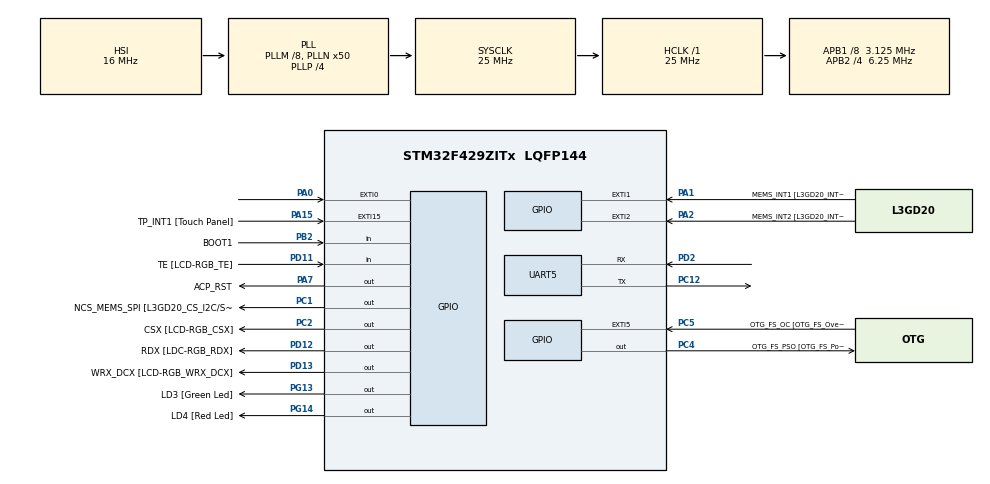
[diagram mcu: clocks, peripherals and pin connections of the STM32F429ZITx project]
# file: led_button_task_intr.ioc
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Mcu.Family=STM32F4
Mcu.Name=STM32F429ZITx
Mcu.Package=LQFP144
NVIC.EXTI0_IRQn=true\:6\:0\:true\:false\:true\:true\:true\:true
NVIC.PriorityGroup=NVIC_PRIORITYGROUP_4
NVIC.TIM6_DAC_IRQn=true\:15\:0\:false\:false\:true\:false\:true\:true
NVIC.TimeBase=TIM6_DAC_IRQn
NVIC.TimeBaseIP=TIM6
NVIC.UART5_IRQn=true\:0\:0\:false\:false\:true\:true\:true\:true
PA0/WKUP.GPIO_ModeDefaultEXTI=GPIO_MODE_IT_FALLING
PA0/WKUP.Signal=GPXTI0
PA1.GPIO_Label=MEMS_INT1 [L3GD20_INT1]
PA1.GPIO_ModeDefaultEXTI=GPIO_MODE_EVT_RISING
PA1.GPIO_PuPd=GPIO_NOPULL
PA1.Signal=GPXTI1
PA10.GPIO_Label=STLINK_TX [STM32F103CBT6_PA2]
PA10.Signal=USART1_RX
PA11.GPIO_Label=R4
PA11.GPIO_Mode=GPIO_MODE_AF_PP
PA11.GPIO_PuPd=GPIO_NOPULL
PA11.GPIO_Speed=GPIO_SPEED_FREQ_LOW
PA11.Signal=LTDC_R4
PA12.GPIO_Label=R5
PA12.GPIO_Mode=GPIO_MODE_AF_PP
PA12.GPIO_PuPd=GPIO_NOPULL
PA12.GPIO_Speed=GPIO_SPEED_FREQ_LOW
PA12.Signal=LTDC_R5
PA13.GPIO_Label=SWDIO
PA13.Signal=SYS_JTMS-SWDIO
PA14.GPIO_Label=SWCLK
PA14.Signal=SYS_JTCK-SWCLK
PA15.GPIO_Label=TP_INT1 [Touch Panel]
PA15.GPIO_ModeDefaultEXTI=GPIO_MODE_EVT_RISING
PA15.GPIO_PuPd=GPIO_NOPULL
PA15.Signal=GPXTI15
PA2.GPIO_Label=MEMS_INT2 [L3GD20_INT2]
PA2.GPIO_ModeDefaultEXTI=GPIO_MODE_EVT_RISING
PA2.GPIO_PuPd=GPIO_NOPULL
PA2.Signal=GPXTI2
PA3.GPIO_Label=B5
PA3.GPIO_Mode=GPIO_MODE_AF_PP
PA3.GPIO_PuPd=GPIO_NOPULL
PA3.GPIO_Speed=GPIO_SPEED_FREQ_LOW
PA3.Signal=LTDC_B5
PA4.GPIO_Label=VSYNC
PA4.GPIO_Mode=GPIO_MODE_AF_PP
PA4.GPIO_PuPd=GPIO_NOPULL
PA4.GPIO_Speed=GPIO_SPEED_FREQ_LOW
PA4.Signal=LTDC_VSYNC
PA6.GPIO_Label=G2
PA6.GPIO_Mode=GPIO_MODE_AF_PP
PA6.GPIO_PuPd=GPIO_NOPULL
PA6.GPIO_Speed=GPIO_SPEED_FREQ_LOW
PA6.Signal=LTDC_G2
PA7.GPIO_Label=ACP_RST
PA7.GPIO_Mode=GPIO_MODE_OUTPUT_PP
PA7.GPIO_PuPd=GPIO_NOPULL
PA7.GPIO_Speed=GPIO_SPEED_FREQ_LOW
PA7.Signal=GPIO_Output
PA8.GPIO_Label=I2C3_SCL [ACP/RF_SCL]
PA8.GPIO_Mode=GPIO_MODE_AF_OD
PA8.GPIO_PuPd=GPIO_NOPULL
PA8.GPIO_Speed=GPIO_SPEED_FREQ_LOW
PA8.Signal=I2C3_SCL
PA9.GPIO_Label=STLINK_RX [STM32F103CBT6_PA3]
PA9.Signal=USART1_TX
PB0.GPIO_Label=R3
PB0.GPIO_Mode=GPIO_MODE_AF_PP
PB0.GPIO_PuPd=GPIO_NOPULL
PB0.GPIO_Speed=GPIO_SPEED_FREQ_LOW
PB0.Signal=LTDC_R3
PB1.GPIO_Label=R6
PB1.GPIO_Mode=GPIO_MODE_AF_PP
PB1.GPIO_PuPd=GPIO_NOPULL
PB1.GPIO_Speed=GPIO_SPEED_FREQ_LOW
PB1.Signal=LTDC_R6
PB10.GPIO_Label=G4
PB10.GPIO_Mode=GPIO_MODE_AF_PP
PB10.GPIO_PuPd=GPIO_NOPULL
PB10.GPIO_Speed=GPIO_SPEED_FREQ_LOW
PB10.Signal=LTDC_G4
PB11.GPIO_Label=G5
PB11.GPIO_Mode=GPIO_MODE_AF_PP
PB11.GPIO_PuPd=GPIO_NOPULL
PB11.GPIO_Speed=GPIO_SPEED_FREQ_LOW
PB11.Signal=LTDC_G5
PB12.GPIO_Label=OTG_HS_ID
PB12.GPIO_Mode=GPIO_MODE_AF_PP
PB12.GPIO_PuPd=GPIO_NOPULL
PB12.GPIO_Speed=GPIO_SPEED_FREQ_LOW
PB12.Signal=USB_OTG_HS_ID
PB13.GPIO_Label=VBUS_HS
PB13.GPIO_Mode=GPIO_MODE_INPUT
PB13.GPIO_PuPd=GPIO_NOPULL
PB13.Signal=USB_OTG_HS_VBUS
PB14.GPIO_Label=OTG_HS_DM
PB14.GPIO_Mode=GPIO_MODE_AF_PP
PB14.GPIO_PuPd=GPIO_NOPULL
PB14.GPIO_Speed=GPIO_SPEED_FREQ_LOW
PB14.Signal=USB_OTG_HS_DM
PB15.GPIO_Label=OTG_HS_DP
PB15.GPIO_Mode=GPIO_MODE_AF_PP
PB15.GPIO_PuPd=GPIO_NOPULL
PB15.GPIO_Speed=GPIO_SPEED_FREQ_LOW
PB15.Signal=USB_OTG_HS_DP
PB2/BOOT1.GPIO_Label=BOOT1
PB2/BOOT1.GPIO_Mode=GPIO_MODE_INPUT
PB2/BOOT1.GPIO_PuPd=GPIO_NOPULL
PB2/BOOT1.Signal=GPIO_Input
PB5.GPIO_Label=SDCKE1
PB5.GPIO_Mode=GPIO_MODE_AF_PP
PB5.GPIO_PuPd=GPIO_NOPULL
PB5.GPIO_Speed=GPIO_SPEED_FREQ_VERY_HIGH
PB5.Signal=FMC_SDCKE1
PB6.GPIO_Label=SDNE1 [SDRAM_CS]
PB6.GPIO_Mode=GPIO_MODE_AF_PP
PB6.GPIO_PuPd=GPIO_NOPULL
PB6.GPIO_Speed=GPIO_SPEED_FREQ_VERY_HIGH
PB6.Signal=FMC_SDNE1
PB8.GPIO_Label=B6
PB8.GPIO_Mode=GPIO_MODE_AF_PP
PB8.GPIO_PuPd=GPIO_NOPULL
PB8.GPIO_Speed=GPIO_SPEED_FREQ_LOW
PB8.Signal=LTDC_B6
PB9.GPIO_Label=B7
PB9.GPIO_Mode=GPIO_MODE_AF_PP
PB9.GPIO_PuPd=GPIO_NOPULL
PB9.GPIO_Speed=GPIO_SPEED_FREQ_LOW
PB9.Signal=LTDC_B7
PC0.GPIO_Label=SDNWE
PC0.GPIO_Mode=GPIO_MODE_AF_PP
PC0.GPIO_PuPd=GPIO_NOPULL
PC0.GPIO_Speed=GPIO_SPEED_FREQ_VERY_HIGH
PC0.Signal=FMC_SDNWE
PC1.GPIO_Label=NCS_MEMS_SPI [L3GD20_CS_I2C/SPI]
PC1.GPIO_Mode=GPIO_MODE_OUTPUT_PP
PC1.GPIO_PuPd=GPIO_NOPULL
PC1.GPIO_Speed=GPIO_SPEED_FREQ_LOW
PC1.Signal=GPIO_Output
PC10.GPIO_Label=R2
PC10.GPIO_Mode=GPIO_MODE_AF_PP
PC10.GPIO_PuPd=GPIO_NOPULL
PC10.GPIO_Speed=GPIO_SPEED_FREQ_LOW
PC10.Signal=LTDC_R2
PC12.Mode=Asynchronous
PC12.Signal=UART5_TX
PC14/OSC32_IN.GPIO_Label=PC14-OSC32_IN
PC14/OSC32_IN.Signal=RCC_OSC32_IN
PC15/OSC32_OUT.GPIO_Label=PC15-OSC32_OUT
PC15/OSC32_OUT.Signal=RCC_OSC32_OUT
PC2.GPIO_Label=CSX [LCD-RGB_CSX]
PC2.GPIO_Mode=GPIO_MODE_OUTPUT_PP
PC2.GPIO_PuPd=GPIO_NOPULL
PC2.GPIO_Speed=GPIO_SPEED_FREQ_LOW
PC2.Signal=GPIO_Output
PC4.GPIO_Label=OTG_FS_PSO [OTG_FS_PowerSwitchOn]
PC4.GPIO_Mode=GPIO_MODE_OUTPUT_PP
PC4.GPIO_PuPd=GPIO_NOPULL
PC4.GPIO_Speed=GPIO_SPEED_FREQ_LOW
PC4.Signal=GPIO_Output
PC5.GPIO_Label=OTG_FS_OC [OTG_FS_OverCurrent]
PC5.GPIO_ModeDefaultEXTI=GPIO_MODE_EVT_RISING
PC5.Signal=GPXTI5
PC6.GPIO_Label=HSYNC
PC6.GPIO_Mode=GPIO_MODE_AF_PP
PC6.GPIO_PuPd=GPIO_NOPULL
PC6.GPIO_Speed=GPIO_SPEED_FREQ_LOW
PC6.Signal=LTDC_HSYNC
PC7.GPIO_Label=G6
PC7.GPIO_Mode=GPIO_MODE_AF_PP
PC7.GPIO_PuPd=GPIO_NOPULL
PC7.GPIO_Speed=GPIO_SPEED_FREQ_LOW
PC7.Signal=LTDC_G6
PC9.GPIO_Label=I2C3_SDA [ACP/RF_SDA]
PC9.GPIO_Mode=GPIO_MODE_AF_OD
PC9.GPIO_PuPd=GPIO_NOPULL
PC9.GPIO_Speed=GPIO_SPEED_FREQ_LOW
PC9.Signal=I2C3_SDA
PD0.GPIO_Label=D2
PD0.GPIO_Mode=GPIO_MODE_AF_PP
PD0.GPIO_PuPd=GPIO_NOPULL
PD0.GPIO_Speed=GPIO_SPEED_FREQ_VERY_HIGH
PD0.Signal=FMC_D2_DA2
PD1.GPIO_Label=D3
PD1.GPIO_Mode=GPIO_MODE_AF_PP
PD1.GPIO_PuPd=GPIO_NOPULL
PD1.GPIO_Speed=GPIO_SPEED_FREQ_VERY_HIGH
PD1.Signal=FMC_D3_DA3
PD10.GPIO_Label=D15
PD10.GPIO_Mode=GPIO_MODE_AF_PP
PD10.GPIO_PuPd=GPIO_NOPULL
PD10.GPIO_Speed=GPIO_SPEED_FREQ_VERY_HIGH
PD10.Signal=FMC_D15_DA15
PD11.GPIO_Label=TE [LCD-RGB_TE]
PD11.GPIO_Mode=GPIO_MODE_INPUT
PD11.GPIO_PuPd=GPIO_NOPULL
PD11.Signal=GPIO_Input
PD12.GPIO_Label=RDX [LDC-RGB_RDX]
PD12.GPIO_Mode=GPIO_MODE_OUTPUT_PP
PD12.GPIO_PuPd=GPIO_NOPULL
PD12.GPIO_Speed=GPIO_SPEED_FREQ_LOW
PD12.Signal=GPIO_Output
PD13.GPIO_Label=WRX_DCX [LCD-RGB_WRX_DCX]
PD13.GPIO_Mode=GPIO_MODE_OUTPUT_PP
PD13.GPIO_PuPd=GPIO_NOPULL
PD13.GPIO_Speed=GPIO_SPEED_FREQ_LOW
PD13.Signal=GPIO_Output
PD14.GPIO_Label=D0
PD14.GPIO_Mode=GPIO_MODE_AF_PP
PD14.GPIO_PuPd=GPIO_NOPULL
PD14.GPIO_Speed=GPIO_SPEED_FREQ_VERY_HIGH
PD14.Signal=FMC_D0_DA0
PD15.GPIO_Label=D1
PD15.GPIO_Mode=GPIO_MODE_AF_PP
PD15.GPIO_PuPd=GPIO_NOPULL
PD15.GPIO_Speed=GPIO_SPEED_FREQ_VERY_HIGH
PD15.Signal=FMC_D1_DA1
PD2.Mode=Asynchronous
PD2.Signal=UART5_RX
PD3.GPIO_Label=G7
PD3.GPIO_Mode=GPIO_MODE_AF_PP
PD3.GPIO_PuPd=GPIO_NOPULL
PD3.GPIO_Speed=GPIO_SPEED_FREQ_LOW
PD3.Signal=LTDC_G7
PD6.GPIO_Label=B2
PD6.GPIO_Mode=GPIO_MODE_AF_PP
PD6.GPIO_PuPd=GPIO_NOPULL
PD6.GPIO_Speed=GPIO_SPEED_FREQ_LOW
PD6.Signal=LTDC_B2
PD8.GPIO_Label=D13
PD8.GPIO_Mode=GPIO_MODE_AF_PP
PD8.GPIO_PuPd=GPIO_NOPULL
PD8.GPIO_Speed=GPIO_SPEED_FREQ_VERY_HIGH
PD8.Signal=FMC_D13_DA13
PD9.GPIO_Label=D14
PD9.GPIO_Mode=GPIO_MODE_AF_PP
PD9.GPIO_PuPd=GPIO_NOPULL
PD9.GPIO_Speed=GPIO_SPEED_FREQ_VERY_HIGH
PD9.Signal=FMC_D14_DA14
PE0.GPIO_Label=NBL0 [SDRAM_LDQM]
PE0.GPIO_Mode=GPIO_MODE_AF_PP
PE0.GPIO_PuPd=GPIO_NOPULL
PE0.GPIO_Speed=GPIO_SPEED_FREQ_VERY_HIGH
PE0.Signal=FMC_NBL0
PE1.GPIO_Label=NBL1 [SDRAM_UDQM]
PE1.GPIO_Mode=GPIO_MODE_AF_PP
PE1.GPIO_PuPd=GPIO_NOPULL
PE1.GPIO_Speed=GPIO_SPEED_FREQ_VERY_HIGH
PE1.Signal=FMC_NBL1
PE10.GPIO_Label=D7
PE10.GPIO_Mode=GPIO_MODE_AF_PP
PE10.GPIO_PuPd=GPIO_NOPULL
PE10.GPIO_Speed=GPIO_SPEED_FREQ_VERY_HIGH
PE10.Signal=FMC_D7_DA7
PE11.GPIO_Label=D8
PE11.GPIO_Mode=GPIO_MODE_AF_PP
PE11.GPIO_PuPd=GPIO_NOPULL
PE11.GPIO_Speed=GPIO_SPEED_FREQ_VERY_HIGH
PE11.Signal=FMC_D8_DA8
PE12.GPIO_Label=D9
PE12.GPIO_Mode=GPIO_MODE_AF_PP
PE12.GPIO_PuPd=GPIO_NOPULL
PE12.GPIO_Speed=GPIO_SPEED_FREQ_VERY_HIGH
PE12.Signal=FMC_D9_DA9
PE13.GPIO_Label=D10
PE13.GPIO_Mode=GPIO_MODE_AF_PP
PE13.GPIO_PuPd=GPIO_NOPULL
PE13.GPIO_Speed=GPIO_SPEED_FREQ_VERY_HIGH
PE13.Signal=FMC_D10_DA10
PE14.GPIO_Label=D11
PE14.GPIO_Mode=GPIO_MODE_AF_PP
PE14.GPIO_PuPd=GPIO_NOPULL
PE14.GPIO_Speed=GPIO_SPEED_FREQ_VERY_HIGH
PE14.Signal=FMC_D11_DA11
PE15.GPIO_Label=D12
PE15.GPIO_Mode=GPIO_MODE_AF_PP
PE15.GPIO_PuPd=GPIO_NOPULL
PE15.GPIO_Speed=GPIO_SPEED_FREQ_VERY_HIGH
PE15.Signal=FMC_D12_DA12
PE7.GPIO_Label=D4
PE7.GPIO_Mode=GPIO_MODE_AF_PP
PE7.GPIO_PuPd=GPIO_NOPULL
PE7.GPIO_Speed=GPIO_SPEED_FREQ_VERY_HIGH
PE7.Signal=FMC_D4_DA4
PE8.GPIO_Label=D5
PE8.GPIO_Mode=GPIO_MODE_AF_PP
PE8.GPIO_PuPd=GPIO_NOPULL
PE8.GPIO_Speed=GPIO_SPEED_FREQ_VERY_HIGH
PE8.Signal=FMC_D5_DA5
PE9.GPIO_Label=D6
PE9.GPIO_Mode=GPIO_MODE_AF_PP
PE9.GPIO_PuPd=GPIO_NOPULL
PE9.GPIO_Speed=GPIO_SPEED_FREQ_VERY_HIGH
PE9.Signal=FMC_D6_DA6
PF0.GPIO_Label=A0
PF0.GPIO_Mode=GPIO_MODE_AF_PP
PF0.GPIO_PuPd=GPIO_NOPULL
PF0.GPIO_Speed=GPIO_SPEED_FREQ_VERY_HIGH
PF0.Signal=FMC_A0
PF1.GPIO_Label=A1
PF1.GPIO_Mode=GPIO_MODE_AF_PP
PF1.GPIO_PuPd=GPIO_NOPULL
PF1.GPIO_Speed=GPIO_SPEED_FREQ_VERY_HIGH
PF1.Signal=FMC_A1
PF10.GPIO_Label=ENABLE [LCD-RGB_ENABLE]
PF10.GPIO_Mode=GPIO_MODE_AF_PP
PF10.GPIO_PuPd=GPIO_NOPULL
PF10.GPIO_Speed=GPIO_SPEED_FREQ_LOW
PF10.Signal=LTDC_DE
PF11.GPIO_Label=SDNRAS
PF11.GPIO_Mode=GPIO_MODE_AF_PP
PF11.GPIO_PuPd=GPIO_NOPULL
PF11.GPIO_Speed=GPIO_SPEED_FREQ_VERY_HIGH
PF11.Signal=FMC_SDNRAS
PF12.GPIO_Label=A6
PF12.GPIO_Mode=GPIO_MODE_AF_PP
PF12.GPIO_PuPd=GPIO_NOPULL
PF12.GPIO_Speed=GPIO_SPEED_FREQ_VERY_HIGH
PF12.Signal=FMC_A6
PF13.GPIO_Label=A7
PF13.GPIO_Mode=GPIO_MODE_AF_PP
PF13.GPIO_PuPd=GPIO_NOPULL
PF13.GPIO_Speed=GPIO_SPEED_FREQ_VERY_HIGH
PF13.Signal=FMC_A7
PF14.GPIO_Label=A8
PF14.GPIO_Mode=GPIO_MODE_AF_PP
PF14.GPIO_PuPd=GPIO_NOPULL
PF14.GPIO_Speed=GPIO_SPEED_FREQ_VERY_HIGH
PF14.Signal=FMC_A8
PF15.GPIO_Label=A9
PF15.GPIO_Mode=GPIO_MODE_AF_PP
PF15.GPIO_PuPd=GPIO_NOPULL
PF15.GPIO_Speed=GPIO_SPEED_FREQ_VERY_HIGH
PF15.Signal=FMC_A9
PF2.GPIO_Label=A2
PF2.GPIO_Mode=GPIO_MODE_AF_PP
PF2.GPIO_PuPd=GPIO_NOPULL
PF2.GPIO_Speed=GPIO_SPEED_FREQ_VERY_HIGH
PF2.Signal=FMC_A2
PF3.GPIO_Label=A3
PF3.GPIO_Mode=GPIO_MODE_AF_PP
PF3.GPIO_PuPd=GPIO_NOPULL
PF3.GPIO_Speed=GPIO_SPEED_FREQ_VERY_HIGH
PF3.Signal=FMC_A3
PF4.GPIO_Label=A4
PF4.GPIO_Mode=GPIO_MODE_AF_PP
PF4.GPIO_PuPd=GPIO_NOPULL
PF4.GPIO_Speed=GPIO_SPEED_FREQ_VERY_HIGH
PF4.Signal=FMC_A4
PF5.GPIO_Label=A5
PF5.GPIO_Mode=GPIO_MODE_AF_PP
PF5.GPIO_PuPd=GPIO_NOPULL
PF5.GPIO_Speed=GPIO_SPEED_FREQ_VERY_HIGH
PF5.Signal=FMC_A5
PF7.GPIO_Label=SPI5_SCK [L3GD20_SCL/SPC]
PF7.GPIO_Mode=GPIO_MODE_AF_PP
PF7.GPIO_PuPd=GPIO_NOPULL
PF7.GPIO_Speed=GPIO_SPEED_FREQ_LOW
PF7.Signal=SPI5_SCK
PF8.GPIO_Label=SPI5_MISO [L3GD20_SDO]
PF8.GPIO_Mode=GPIO_MODE_AF_PP
PF8.GPIO_PuPd=GPIO_NOPULL
PF8.GPIO_Speed=GPIO_SPEED_FREQ_LOW
PF8.Signal=SPI5_MISO
PF9.GPIO_Label=SPI5_MOSI [L3GD20_SDA/SDI/SDO]
PF9.GPIO_Mode=GPIO_MODE_AF_PP
PF9.GPIO_PuPd=GPIO_NOPULL
PF9.GPIO_Speed=GPIO_SPEED_FREQ_LOW
PF9.Signal=SPI5_MOSI
PG0.GPIO_Label=A10
PG0.GPIO_Mode=GPIO_MODE_AF_PP
PG0.GPIO_PuPd=GPIO_NOPULL
PG0.GPIO_Speed=GPIO_SPEED_FREQ_VERY_HIGH
PG0.Signal=FMC_A10
PG1.GPIO_Label=A11
PG1.GPIO_Mode=GPIO_MODE_AF_PP
PG1.GPIO_PuPd=GPIO_NOPULL
PG1.GPIO_Speed=GPIO_SPEED_FREQ_VERY_HIGH
PG1.Signal=FMC_A11
PG10.GPIO_Label=G3
PG10.GPIO_Mode=GPIO_MODE_AF_PP
PG10.GPIO_PuPd=GPIO_NOPULL
PG10.GPIO_Speed=GPIO_SPEED_FREQ_LOW
PG10.Signal=LTDC_G3
PG11.GPIO_Label=B3
PG11.GPIO_Mode=GPIO_MODE_AF_PP
PG11.GPIO_PuPd=GPIO_NOPULL
PG11.GPIO_Speed=GPIO_SPEED_FREQ_LOW
PG11.Signal=LTDC_B3
PG12.GPIO_Label=B4
PG12.GPIO_Mode=GPIO_MODE_AF_PP
PG12.GPIO_PuPd=GPIO_NOPULL
PG12.GPIO_Speed=GPIO_SPEED_FREQ_LOW
PG12.Signal=LTDC_B4
PG13.GPIO_Label=LD3 [Green Led]
PG13.GPIO_Mode=GPIO_MODE_OUTPUT_PP
PG13.GPIO_PuPd=GPIO_NOPULL
PG13.GPIO_Speed=GPIO_SPEED_FREQ_LOW
PG13.Signal=GPIO_Output
PG14.GPIO_Label=LD4 [Red Led]
PG14.GPIO_Mode=GPIO_MODE_OUTPUT_PP
PG14.GPIO_PuPd=GPIO_NOPULL
PG14.GPIO_Speed=GPIO_SPEED_FREQ_LOW
PG14.Signal=GPIO_Output
PG15.GPIO_Label=SDNCAS
PG15.GPIO_Mode=GPIO_MODE_AF_PP
PG15.GPIO_PuPd=GPIO_NOPULL
PG15.GPIO_Speed=GPIO_SPEED_FREQ_VERY_HIGH
PG15.Signal=FMC_SDNCAS
PG4.GPIO_Label=BA0
PG4.GPIO_Mode=GPIO_MODE_AF_PP
PG4.GPIO_PuPd=GPIO_NOPULL
PG4.GPIO_Speed=GPIO_SPEED_FREQ_VERY_HIGH
PG4.Signal=FMC_A14_BA0
PG5.GPIO_Label=BA1
PG5.GPIO_Mode=GPIO_MODE_AF_PP
PG5.GPIO_PuPd=GPIO_NOPULL
PG5.GPIO_Speed=GPIO_SPEED_FREQ_VERY_HIGH
PG5.Signal=FMC_A15_BA1
PG6.GPIO_Label=R7
PG6.GPIO_Mode=GPIO_MODE_AF_PP
PG6.GPIO_PuPd=GPIO_NOPULL
PG6.GPIO_Speed=GPIO_SPEED_FREQ_LOW
PG6.Signal=LTDC_R7
PG7.GPIO_Label=DOTCLK [LCT-RGB_DOTCLK]
PG7.GPIO_Mode=GPIO_MODE_AF_PP
PG7.GPIO_PuPd=GPIO_NOPULL
PG7.GPIO_Speed=GPIO_SPEED_FREQ_LOW
PG7.Signal=LTDC_CLK
PG8.GPIO_Label=SDCLK
PG8.GPIO_Mode=GPIO_MODE_AF_PP
PG8.GPIO_PuPd=GPIO_NOPULL
PG8.GPIO_Speed=GPIO_SPEED_FREQ_VERY_HIGH
PG8.Signal=FMC_SDCLK
PH0/OSC_IN.GPIO_Label=PH0-OSC_IN
PH0/OSC_IN.Signal=RCC_OSC_IN
PH1/OSC_OUT.GPIO_Label=PH1-OSC_OUT
PH1/OSC_OUT.Signal=RCC_OSC_OUT
ProjectManager.HeapSize=0x200
ProjectManager.StackSize=0x400
ProjectManager.TargetToolchain=STM32CubeIDE
RCC.48MHZClocksFreq_Value=14285714.285714285
RCC.AHBFreq_Value=25000000
RCC.APB1CLKDivider=RCC_HCLK_DIV8
RCC.APB1Freq_Value=3125000
RCC.APB1TimFreq_Value=6250000
RCC.APB2CLKDivider=RCC_HCLK_DIV4
RCC.APB2Freq_Value=6250000
RCC.APB2TimFreq_Value=12500000
RCC.CortexFreq_Value=25000000
RCC.HCLKFreq_Value=25000000
RCC.HSE_VALUE=8000000
RCC.HSI_VALUE=16000000
RCC.LSE_VALUE=32768
RCC.PLLM=8
RCC.PLLN=50
RCC.PLLP=RCC_PLLP_DIV4
RCC.PLLQ=7
RCC.SYSCLKFreq_VALUE=25000000
RCC.SYSCLKSource=RCC_SYSCLKSOURCE_PLLCLK
RCC.VCOOutputFreq_Value=100000000
SH.FMC_A0.0=FMC_A0
SH.FMC_A1.0=FMC_A1
SH.FMC_A10.0=FMC_A10
SH.FMC_A11.0=FMC_A11
SH.FMC_A14_BA0.0=FMC_BA0
SH.FMC_A15_BA1.0=FMC_BA1
SH.FMC_A2.0=FMC_A2
SH.FMC_A3.0=FMC_A3
SH.FMC_A4.0=FMC_A4
SH.FMC_A5.0=FMC_A5
SH.FMC_A6.0=FMC_A6
SH.FMC_A7.0=FMC_A7
SH.FMC_A8.0=FMC_A8
SH.FMC_A9.0=FMC_A9
SH.FMC_D0_DA0.0=FMC_D0
SH.FMC_D10_DA10.0=FMC_D10
SH.FMC_D11_DA11.0=FMC_D11
SH.FMC_D12_DA12.0=FMC_D12
SH.FMC_D13_DA13.0=FMC_D13
SH.FMC_D14_DA14.0=FMC_D14
SH.FMC_D15_DA15.0=FMC_D15
SH.FMC_D1_DA1.0=FMC_D1
SH.FMC_D2_DA2.0=FMC_D2
SH.FMC_D3_DA3.0=FMC_D3
SH.FMC_D4_DA4.0=FMC_D4
SH.FMC_D5_DA5.0=FMC_D5
SH.FMC_D6_DA6.0=FMC_D6
SH.FMC_D7_DA7.0=FMC_D7
SH.FMC_D8_DA8.0=FMC_D8
SH.FMC_D9_DA9.0=FMC_D9
SH.FMC_NBL0.0=FMC_NBL0
SH.FMC_NBL1.0=FMC_NBL1
SH.FMC_SDCLK.0=FMC_SDCLK
SH.FMC_SDNCAS.0=FMC_SDNCAS
SH.FMC_SDNRAS.0=FMC_SDNRAS
SH.FMC_SDNWE.0=FMC_SDNWE
UART5.VirtualMode=Asynchronous
VP_SYS_VS_tim6.Mode=TIM6
board=STM32F429I-DISC1

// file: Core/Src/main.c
/* USER CODE BEGIN Header */
/**
  ******************************************************************************
  * @file           : main.c
  * @brief          : Main program body
  ******************************************************************************
  * @attention
  *
  * Copyright (c) 2025 STMicroelectronics.
  * All rights reserved.
  *
  * This software is licensed under terms that can be found in the LICENSE file
  * in the root directory of this software component.
  * If no LICENSE file comes with this software, it is provided AS-IS.
  *
  ******************************************************************************
  */
/* USER CODE END Header */
#include "main.h"

/* USER CODE BEGIN Includes */
#include "stdio.h"
#include "FreeRTOS.h"
#include "task.h"
#include "semphr.h"
/* USER CODE END Includes */

UART_HandleTypeDef huart5;

/* USER CODE BEGIN PV */
UART_HandleTypeDef huart5;
SemaphoreHandle_t xMutex;

TaskHandle_t redLedHandle = NULL;
TaskHandle_t greenLedHandle = NULL;
TaskHandle_t userButtonHandle = NULL;
TaskHandle_t volatile next_task_handle  = NULL;
/* USER CODE END PV */

void SystemClock_Config(void);
static void MX_GPIO_Init(void);
static void MX_UART5_Init(void);

/* USER CODE BEGIN 0 */

int __io_putchar(int ch)
{
	xSemaphoreTake( xMutex, portMAX_DELAY );
    /* Support printf over UART */
    (void)HAL_UART_Transmit(&huart5, (uint8_t*)&ch, 1, 0xFFFFU);
    xSemaphoreGive( xMutex );
    return ch;
}

void HAL_GPIO_EXTI_Callback(uint16_t GPIO_Pin)
{
	// Don't call printf() from ISR
	//printf("User button is pressed ISR - 1\r\n");
	// User button
	if(GPIO_Pin == GPIO_PIN_0)
	{
		//printf("User button is pressed ISR\r\n");
		BaseType_t pxHigherPriorityTaskWoken = pdFALSE;
		xTaskNotifyFromISR(next_task_handle,0,eNoAction,&pxHigherPriorityTaskWoken);
	}
}

void green_led_task( void * args )
{
	uint32_t duration_in_ms = 800;
	TickType_t last_wakeup_tick_count = xTaskGetTickCount();
	BaseType_t  status;
    for( ;; )
    {
    	//printf("grn_led_task with vTaskDelay\r\n");
    	 HAL_GPIO_TogglePin(GPIOG, GPIO_PIN_13);
		// Delay for 500 milliseconds (0.5 seconds)
    	 //TickType_t xTicks = pdMS_TO_TICKS(duration_in_ms);
    	 TickType_t xTicks = pdMS_TO_TICKS(duration_in_ms);
    	 status = xTaskNotifyWait(0,0,NULL,xTicks);
    	 if(status == pdTRUE)
    	 {
    		 printf("deleting grn_led_task - 1\r\n");
    		 //Use this if critical section is not long and is trivial, other wise use mutex or semaphore
    		 portENTER_CRITICAL();
    		 next_task_handle = redLedHandle;
    		 portEXIT_CRITICAL();
    		 printf("deleting grn_led_task -2\r\n");
    		 vTaskDelete(NULL);
    	 }
    	 //vTaskDelay(xTicks);
    	 //vTaskDelayUntil(&last_wakeup_tick_count, xTicks);
    	 //HAL_Delay(500);
    }
    vTaskDelete( NULL ); // Delete if task ever exits
}

void red_led_task( void * args )
{
	uint32_t duration_in_ms = 400;
	TickType_t last_wakeup_tick_count = xTaskGetTickCount();
	BaseType_t  status;
    for( ;; )
    {
    	//printf("red_led_task with vTaskDelay\r\n");
    	 HAL_GPIO_TogglePin(GPIOG,  GPIO_PIN_14);

		// Delay for 500 milliseconds (0.5 seconds)
    	 //TickType_t xTicks = pdMS_TO_TICKS(duration_in_ms);
    	 TickType_t xTicks = pdMS_TO_TICKS(duration_in_ms);
    	 status = xTaskNotifyWait(0,0,NULL,xTicks);
		 if(status == pdTRUE)
		 {
			 printf("deleting red_led_task - 1\r\n");
			 //Use this if critical section is not long and is trivial, other wise use mutex or semaphore
			 portENTER_CRITICAL();
			 next_task_handle = NULL;
			 portEXIT_CRITICAL();
			 printf("deleting red_led_task - 2\r\n");
			 vTaskDelete(NULL);
		 }
    	 //vTaskDelay(xTicks);
    	 //vTaskDelayUntil(&last_wakeup_tick_count, xTicks);
		//HAL_Delay(250);
    }
    vTaskDelete( NULL ); // Delete if task ever exits
}

//void user_button_task( void * args )
//{
//	uint32_t duration_in_ms = 10;
//	TickType_t last_wakeup_tick_count = xTaskGetTickCount();
//	uint8_t btn_read = 0;
//	uint8_t prev_read = 0;
//    for( ;; )
//    {
//    	btn_read  = HAL_GPIO_ReadPin(GPIOA, GPIO_PIN_0);
//    	//printf("user_button_task with vTaskDelay\r\n");
//    	if (!btn_read)
//    	{
//    		if (prev_read)
//    		{
//    			printf("User button is pressed - 1\r\n");
//    			xTaskNotify(next_task_handle,0,eNoAction);
//    			printf("User button is pressed - 2\r\n");
//    		}
//    	}
//
//		// Delay for 500 milliseconds (0.5 seconds)
//    	 //TickType_t xTicks = pdMS_TO_TICKS(duration_in_ms);
//    	 TickType_t xTicks = pdMS_TO_TICKS(duration_in_ms);
//    	 vTaskDelay(xTicks);
//    	 prev_read = btn_read;
//    	 //vTaskDelayUntil(&last_wakeup_tick_count, xTicks);
//		//HAL_Delay(250);
//    }
//    vTaskDelete( NULL ); // Delete if task ever exits
//}
/* USER CODE END 0 */

int main(void)
{

  /* MCU Configuration--------------------------------------------------------*/

  /* Reset of all peripherals, Initializes the Flash interface and the Systick. */
  HAL_Init();

  /* Configure the system clock */
  SystemClock_Config();

  /* Initialize all configured peripherals */
  MX_GPIO_Init();
  MX_UART5_Init();
  /* USER CODE BEGIN 2 */

  BaseType_t status;

  xMutex = xSemaphoreCreateMutex();

  status = xTaskCreate(
		  green_led_task,        /* Function implementing the task */
          "green-led-task",           /* Text name for debugging */
          200,       /* Stack size in words */
          NULL,             /* Parameter passed */
          2,
		  //tskIDLE_PRIORITY + 1, /* Priority */
          &greenLedHandle );
  status = xTaskCreate(
  		  red_led_task,        /* Function implementing the task */
            "red-led-task",           /* Text name for debugging */
            200,       /* Stack size in words */
            NULL,             /* Parameter passed */
            2,
			//tskIDLE_PRIORITY + 1, /* Priority */
            &redLedHandle );
//  status = xTaskCreate(
//    		  user_button_task,        /* Function implementing the task */
//              "user_button_task",           /* Text name for debugging */
//              200,       /* Stack size in words */
//              NULL,             /* Parameter passed */
//              2,
//  			//tskIDLE_PRIORITY + 1, /* Priority */
//              &userButtonHandle );
  next_task_handle = greenLedHandle;
  //start the freeRTOS scheduler
    vTaskStartScheduler();

  /* USER CODE END 2 */

  /* Infinite loop */
  /* USER CODE BEGIN WHILE */
  while (1)
  {
	  // Toggle the LED state (ON to OFF, or OFF to ON)
	  HAL_GPIO_TogglePin(GPIOG, GPIO_PIN_13 | GPIO_PIN_14);

	    // Delay for 500 milliseconds (0.5 seconds)
	    HAL_Delay(500);
    /* USER CODE END WHILE */

  }
}

void SystemClock_Config(void)
{
  RCC_OscInitTypeDef RCC_OscInitStruct = {0};
  RCC_ClkInitTypeDef RCC_ClkInitStruct = {0};

  /** Configure the main internal regulator output voltage
  */
  __HAL_RCC_PWR_CLK_ENABLE();
  __HAL_PWR_VOLTAGESCALING_CONFIG(PWR_REGULATOR_VOLTAGE_SCALE3);

  /** Initializes the RCC Oscillators according to the specified parameters
  * in the RCC_OscInitTypeDef structure.
  */
  RCC_OscInitStruct.OscillatorType = RCC_OSCILLATORTYPE_HSI;
  RCC_OscInitStruct.HSIState = RCC_HSI_ON;
  RCC_OscInitStruct.HSICalibrationValue = RCC_HSICALIBRATION_DEFAULT;
  RCC_OscInitStruct.PLL.PLLState = RCC_PLL_ON;
  RCC_OscInitStruct.PLL.PLLSource = RCC_PLLSOURCE_HSI;
  RCC_OscInitStruct.PLL.PLLM = 8;
  RCC_OscInitStruct.PLL.PLLN = 50;
  RCC_OscInitStruct.PLL.PLLP = RCC_PLLP_DIV4;
  RCC_OscInitStruct.PLL.PLLQ = 7;
  if (HAL_RCC_OscConfig(&RCC_OscInitStruct) != HAL_OK)
  {
    Error_Handler();
  }

  /** Initializes the CPU, AHB and APB buses clocks
  */
  RCC_ClkInitStruct.ClockType = RCC_CLOCKTYPE_HCLK|RCC_CLOCKTYPE_SYSCLK
                              |RCC_CLOCKTYPE_PCLK1|RCC_CLOCKTYPE_PCLK2;
  RCC_ClkInitStruct.SYSCLKSource = RCC_SYSCLKSOURCE_PLLCLK;
  RCC_ClkInitStruct.AHBCLKDivider = RCC_SYSCLK_DIV1;
  RCC_ClkInitStruct.APB1CLKDivider = RCC_HCLK_DIV8;
  RCC_ClkInitStruct.APB2CLKDivider = RCC_HCLK_DIV4;

  if (HAL_RCC_ClockConfig(&RCC_ClkInitStruct, FLASH_LATENCY_0) != HAL_OK)
  {
    Error_Handler();
  }
}

static void MX_UART5_Init(void)
{

  huart5.Instance = UART5;
  huart5.Init.BaudRate = 115200;
  huart5.Init.WordLength = UART_WORDLENGTH_8B;
  huart5.Init.StopBits = UART_STOPBITS_1;
  huart5.Init.Parity = UART_PARITY_NONE;
  huart5.Init.Mode = UART_MODE_TX_RX;
  huart5.Init.HwFlowCtl = UART_HWCONTROL_NONE;
  huart5.Init.OverSampling = UART_OVERSAMPLING_16;
  if (HAL_UART_Init(&huart5) != HAL_OK)
  {
    Error_Handler();
  }

}

static void MX_GPIO_Init(void)
{
  GPIO_InitTypeDef GPIO_InitStruct = {0};

  /* GPIO Ports Clock Enable */
  __HAL_RCC_GPIOC_CLK_ENABLE();
  __HAL_RCC_GPIOF_CLK_ENABLE();
  __HAL_RCC_GPIOH_CLK_ENABLE();
  __HAL_RCC_GPIOA_CLK_ENABLE();
  __HAL_RCC_GPIOB_CLK_ENABLE();
  __HAL_RCC_GPIOG_CLK_ENABLE();
  __HAL_RCC_GPIOE_CLK_ENABLE();
  __HAL_RCC_GPIOD_CLK_ENABLE();

  /*Configure GPIO pin Output Level */
  HAL_GPIO_WritePin(GPIOC, NCS_MEMS_SPI_Pin|CSX_Pin|OTG_FS_PSO_Pin, GPIO_PIN_RESET);

  /*Configure GPIO pin Output Level */
  HAL_GPIO_WritePin(ACP_RST_GPIO_Port, ACP_RST_Pin, GPIO_PIN_RESET);

  /*Configure GPIO pin Output Level */
  HAL_GPIO_WritePin(GPIOD, RDX_Pin|WRX_DCX_Pin, GPIO_PIN_RESET);

  /*Configure GPIO pin Output Level */
  HAL_GPIO_WritePin(GPIOG, LD3_Pin|LD4_Pin, GPIO_PIN_RESET);

  /*Configure GPIO pins : A0_Pin A1_Pin A2_Pin A3_Pin
                           A4_Pin A5_Pin SDNRAS_Pin A6_Pin
                           A7_Pin A8_Pin A9_Pin */
  GPIO_InitStruct.Pin = A0_Pin|A1_Pin|A2_Pin|A3_Pin
                          |A4_Pin|A5_Pin|SDNRAS_Pin|A6_Pin
                          |A7_Pin|A8_Pin|A9_Pin;
  GPIO_InitStruct.Mode = GPIO_MODE_AF_PP;
  GPIO_InitStruct.Pull = GPIO_NOPULL;
  GPIO_InitStruct.Speed = GPIO_SPEED_FREQ_VERY_HIGH;
  GPIO_InitStruct.Alternate = GPIO_AF12_FMC;
  HAL_GPIO_Init(GPIOF, &GPIO_InitStruct);

  /*Configure GPIO pins : SPI5_SCK_Pin SPI5_MISO_Pin SPI5_MOSI_Pin */
  GPIO_InitStruct.Pin = SPI5_SCK_Pin|SPI5_MISO_Pin|SPI5_MOSI_Pin;
  GPIO_InitStruct.Mode = GPIO_MODE_AF_PP;
  GPIO_InitStruct.Pull = GPIO_NOPULL;
  GPIO_InitStruct.Speed = GPIO_SPEED_FREQ_LOW;
  GPIO_InitStruct.Alternate = GPIO_AF5_SPI5;
  HAL_GPIO_Init(GPIOF, &GPIO_InitStruct);

  /*Configure GPIO pin : ENABLE_Pin */
  GPIO_InitStruct.Pin = ENABLE_Pin;
  GPIO_InitStruct.Mode = GPIO_MODE_AF_PP;
  GPIO_InitStruct.Pull = GPIO_NOPULL;
  GPIO_InitStruct.Speed = GPIO_SPEED_FREQ_LOW;
  GPIO_InitStruct.Alternate = GPIO_AF14_LTDC;
  HAL_GPIO_Init(ENABLE_GPIO_Port, &GPIO_InitStruct);

  /*Configure GPIO pin : SDNWE_Pin */
  GPIO_InitStruct.Pin = SDNWE_Pin;
  GPIO_InitStruct.Mode = GPIO_MODE_AF_PP;
  GPIO_InitStruct.Pull = GPIO_NOPULL;
  GPIO_InitStruct.Speed = GPIO_SPEED_FREQ_VERY_HIGH;
  GPIO_InitStruct.Alternate = GPIO_AF12_FMC;
  HAL_GPIO_Init(SDNWE_GPIO_Port, &GPIO_InitStruct);

  /*Configure GPIO pins : NCS_MEMS_SPI_Pin CSX_Pin OTG_FS_PSO_Pin */
  GPIO_InitStruct.Pin = NCS_MEMS_SPI_Pin|CSX_Pin|OTG_FS_PSO_Pin;
  GPIO_InitStruct.Mode = GPIO_MODE_OUTPUT_PP;
  GPIO_InitStruct.Pull = GPIO_NOPULL;
  GPIO_InitStruct.Speed = GPIO_SPEED_FREQ_LOW;
  HAL_GPIO_Init(GPIOC, &GPIO_InitStruct);

  /*Configure GPIO pin : PA0 */
  GPIO_InitStruct.Pin = GPIO_PIN_0;
  GPIO_InitStruct.Mode = GPIO_MODE_IT_FALLING;
  GPIO_InitStruct.Pull = GPIO_NOPULL;
  HAL_GPIO_Init(GPIOA, &GPIO_InitStruct);

  /*Configure GPIO pins : MEMS_INT1_Pin MEMS_INT2_Pin TP_INT1_Pin */
  GPIO_InitStruct.Pin = MEMS_INT1_Pin|MEMS_INT2_Pin|TP_INT1_Pin;
  GPIO_InitStruct.Mode = GPIO_MODE_EVT_RISING;
  GPIO_InitStruct.Pull = GPIO_NOPULL;
  HAL_GPIO_Init(GPIOA, &GPIO_InitStruct);

  /*Configure GPIO pins : B5_Pin VSYNC_Pin G2_Pin R4_Pin
                           R5_Pin */
  GPIO_InitStruct.Pin = B5_Pin|VSYNC_Pin|G2_Pin|R4_Pin
                          |R5_Pin;
  GPIO_InitStruct.Mode = GPIO_MODE_AF_PP;
  GPIO_InitStruct.Pull = GPIO_NOPULL;
  GPIO_InitStruct.Speed = GPIO_SPEED_FREQ_LOW;
  GPIO_InitStruct.Alternate = GPIO_AF14_LTDC;
  HAL_GPIO_Init(GPIOA, &GPIO_InitStruct);

  /*Configure GPIO pin : ACP_RST_Pin */
  GPIO_InitStruct.Pin = ACP_RST_Pin;
  GPIO_InitStruct.Mode = GPIO_MODE_OUTPUT_PP;
  GPIO_InitStruct.Pull = GPIO_NOPULL;
  GPIO_InitStruct.Speed = GPIO_SPEED_FREQ_LOW;
  HAL_GPIO_Init(ACP_RST_GPIO_Port, &GPIO_InitStruct);

  /*Configure GPIO pin : OTG_FS_OC_Pin */
  GPIO_InitStruct.Pin = OTG_FS_OC_Pin;
  GPIO_InitStruct.Mode = GPIO_MODE_EVT_RISING;
  GPIO_InitStruct.Pull = GPIO_NOPULL;
  HAL_GPIO_Init(OTG_FS_OC_GPIO_Port, &GPIO_InitStruct);

  /*Configure GPIO pins : R3_Pin R6_Pin */
  GPIO_InitStruct.Pin = R3_Pin|R6_Pin;
  GPIO_InitStruct.Mode = GPIO_MODE_AF_PP;
  GPIO_InitStruct.Pull = GPIO_NOPULL;
  GPIO_InitStruct.Speed = GPIO_SPEED_FREQ_LOW;
  GPIO_InitStruct.Alternate = GPIO_AF9_LTDC;
  HAL_GPIO_Init(GPIOB, &GPIO_InitStruct);

  /*Configure GPIO pin : BOOT1_Pin */
  GPIO_InitStruct.Pin = BOOT1_Pin;
  GPIO_InitStruct.Mode = GPIO_MODE_INPUT;
  GPIO_InitStruct.Pull = GPIO_NOPULL;
  HAL_GPIO_Init(BOOT1_GPIO_Port, &GPIO_InitStruct);

  /*Configure GPIO pins : A10_Pin A11_Pin BA0_Pin BA1_Pin
                           SDCLK_Pin SDNCAS_Pin */
  GPIO_InitStruct.Pin = A10_Pin|A11_Pin|BA0_Pin|BA1_Pin
                          |SDCLK_Pin|SDNCAS_Pin;
  GPIO_InitStruct.Mode = GPIO_MODE_AF_PP;
  GPIO_InitStruct.Pull = GPIO_NOPULL;
  GPIO_InitStruct.Speed = GPIO_SPEED_FREQ_VERY_HIGH;
  GPIO_InitStruct.Alternate = GPIO_AF12_FMC;
  HAL_GPIO_Init(GPIOG, &GPIO_InitStruct);

  /*Configure GPIO pins : D4_Pin D5_Pin D6_Pin D7_Pin
                           D8_Pin D9_Pin D10_Pin D11_Pin
                           D12_Pin NBL0_Pin NBL1_Pin */
  GPIO_InitStruct.Pin = D4_Pin|D5_Pin|D6_Pin|D7_Pin
                          |D8_Pin|D9_Pin|D10_Pin|D11_Pin
                          |D12_Pin|NBL0_Pin|NBL1_Pin;
  GPIO_InitStruct.Mode = GPIO_MODE_AF_PP;
  GPIO_InitStruct.Pull = GPIO_NOPULL;
  GPIO_InitStruct.Speed = GPIO_SPEED_FREQ_VERY_HIGH;
  GPIO_InitStruct.Alternate = GPIO_AF12_FMC;
  HAL_GPIO_Init(GPIOE, &GPIO_InitStruct);

  /*Configure GPIO pins : G4_Pin G5_Pin B6_Pin B7_Pin */
  GPIO_InitStruct.Pin = G4_Pin|G5_Pin|B6_Pin|B7_Pin;
  GPIO_InitStruct.Mode = GPIO_MODE_AF_PP;
  GPIO_InitStruct.Pull = GPIO_NOPULL;
  GPIO_InitStruct.Speed = GPIO_SPEED_FREQ_LOW;
  GPIO_InitStruct.Alternate = GPIO_AF14_LTDC;
  HAL_GPIO_Init(GPIOB, &GPIO_InitStruct);

  /*Configure GPIO pins : OTG_HS_ID_Pin OTG_HS_DM_Pin OTG_HS_DP_Pin */
  GPIO_InitStruct.Pin = OTG_HS_ID_Pin|OTG_HS_DM_Pin|OTG_HS_DP_Pin;
  GPIO_InitStruct.Mode = GPIO_MODE_AF_PP;
  GPIO_InitStruct.Pull = GPIO_NOPULL;
  GPIO_InitStruct.Speed = GPIO_SPEED_FREQ_LOW;
  GPIO_InitStruct.Alternate = GPIO_AF12_OTG_HS_FS;
  HAL_GPIO_Init(GPIOB, &GPIO_InitStruct);

  /*Configure GPIO pin : VBUS_HS_Pin */
  GPIO_InitStruct.Pin = VBUS_HS_Pin;
  GPIO_InitStruct.Mode = GPIO_MODE_INPUT;
  GPIO_InitStruct.Pull = GPIO_NOPULL;
  HAL_GPIO_Init(VBUS_HS_GPIO_Port, &GPIO_InitStruct);

  /*Configure GPIO pins : D13_Pin D14_Pin D15_Pin D0_Pin
                           D1_Pin D2_Pin D3_Pin */
  GPIO_InitStruct.Pin = D13_Pin|D14_Pin|D15_Pin|D0_Pin
                          |D1_Pin|D2_Pin|D3_Pin;
  GPIO_InitStruct.Mode = GPIO_MODE_AF_PP;
  GPIO_InitStruct.Pull = GPIO_NOPULL;
  GPIO_InitStruct.Speed = GPIO_SPEED_FREQ_VERY_HIGH;
  GPIO_InitStruct.Alternate = GPIO_AF12_FMC;
  HAL_GPIO_Init(GPIOD, &GPIO_InitStruct);

  /*Configure GPIO pin : TE_Pin */
  GPIO_InitStruct.Pin = TE_Pin;
  GPIO_InitStruct.Mode = GPIO_MODE_INPUT;
  GPIO_InitStruct.Pull = GPIO_NOPULL;
  HAL_GPIO_Init(TE_GPIO_Port, &GPIO_InitStruct);

  /*Configure GPIO pins : RDX_Pin WRX_DCX_Pin */
  GPIO_InitStruct.Pin = RDX_Pin|WRX_DCX_Pin;
  GPIO_InitStruct.Mode = GPIO_MODE_OUTPUT_PP;
  GPIO_InitStruct.Pull = GPIO_NOPULL;
  GPIO_InitStruct.Speed = GPIO_SPEED_FREQ_LOW;
  HAL_GPIO_Init(GPIOD, &GPIO_InitStruct);

  /*Configure GPIO pins : R7_Pin DOTCLK_Pin B3_Pin */
  GPIO_InitStruct.Pin = R7_Pin|DOTCLK_Pin|B3_Pin;
  GPIO_InitStruct.Mode = GPIO_MODE_AF_PP;
  GPIO_InitStruct.Pull = GPIO_NOPULL;
  GPIO_InitStruct.Speed = GPIO_SPEED_FREQ_LOW;
  GPIO_InitStruct.Alternate = GPIO_AF14_LTDC;
  HAL_GPIO_Init(GPIOG, &GPIO_InitStruct);

  /*Configure GPIO pins : HSYNC_Pin G6_Pin R2_Pin */
  GPIO_InitStruct.Pin = HSYNC_Pin|G6_Pin|R2_Pin;
  GPIO_InitStruct.Mode = GPIO_MODE_AF_PP;
  GPIO_InitStruct.Pull = GPIO_NOPULL;
  GPIO_InitStruct.Speed = GPIO_SPEED_FREQ_LOW;
  GPIO_InitStruct.Alternate = GPIO_AF14_LTDC;
  HAL_GPIO_Init(GPIOC, &GPIO_InitStruct);

  /*Configure GPIO pin : I2C3_SDA_Pin */
  GPIO_InitStruct.Pin = I2C3_SDA_Pin;
  GPIO_InitStruct.Mode = GPIO_MODE_AF_OD;
  GPIO_InitStruct.Pull = GPIO_NOPULL;
  GPIO_InitStruct.Speed = GPIO_SPEED_FREQ_LOW;
  GPIO_InitStruct.Alternate = GPIO_AF4_I2C3;
  HAL_GPIO_Init(I2C3_SDA_GPIO_Port, &GPIO_InitStruct);

  /*Configure GPIO pin : I2C3_SCL_Pin */
  GPIO_InitStruct.Pin = I2C3_SCL_Pin;
  GPIO_InitStruct.Mode = GPIO_MODE_AF_OD;
  GPIO_InitStruct.Pull = GPIO_NOPULL;
  GPIO_InitStruct.Speed = GPIO_SPEED_FREQ_LOW;
  GPIO_InitStruct.Alternate = GPIO_AF4_I2C3;
  HAL_GPIO_Init(I2C3_SCL_GPIO_Port, &GPIO_InitStruct);

  /*Configure GPIO pins : STLINK_RX_Pin STLINK_TX_Pin */
  GPIO_InitStruct.Pin = STLINK_RX_Pin|STLINK_TX_Pin;
  GPIO_InitStruct.Mode = GPIO_MODE_AF_PP;
  GPIO_InitStruct.Pull = GPIO_NOPULL;
  GPIO_InitStruct.Speed = GPIO_SPEED_FREQ_VERY_HIGH;
  GPIO_InitStruct.Alternate = GPIO_AF7_USART1;
  HAL_GPIO_Init(GPIOA, &GPIO_InitStruct);

  /*Configure GPIO pins : G7_Pin B2_Pin */
  GPIO_InitStruct.Pin = G7_Pin|B2_Pin;
  GPIO_InitStruct.Mode = GPIO_MODE_AF_PP;
  GPIO_InitStruct.Pull = GPIO_NOPULL;
  GPIO_InitStruct.Speed = GPIO_SPEED_FREQ_LOW;
  GPIO_InitStruct.Alternate = GPIO_AF14_LTDC;
  HAL_GPIO_Init(GPIOD, &GPIO_InitStruct);

  /*Configure GPIO pins : G3_Pin B4_Pin */
  GPIO_InitStruct.Pin = G3_Pin|B4_Pin;
  GPIO_InitStruct.Mode = GPIO_MODE_AF_PP;
  GPIO_InitStruct.Pull = GPIO_NOPULL;
  GPIO_InitStruct.Speed = GPIO_SPEED_FREQ_LOW;
  GPIO_InitStruct.Alternate = GPIO_AF9_LTDC;
  HAL_GPIO_Init(GPIOG, &GPIO_InitStruct);

  /*Configure GPIO pins : LD3_Pin LD4_Pin */
  GPIO_InitStruct.Pin = LD3_Pin|LD4_Pin;
  GPIO_InitStruct.Mode = GPIO_MODE_OUTPUT_PP;
  GPIO_InitStruct.Pull = GPIO_NOPULL;
  GPIO_InitStruct.Speed = GPIO_SPEED_FREQ_LOW;
  HAL_GPIO_Init(GPIOG, &GPIO_InitStruct);

  /*Configure GPIO pins : SDCKE1_Pin SDNE1_Pin */
  GPIO_InitStruct.Pin = SDCKE1_Pin|SDNE1_Pin;
  GPIO_InitStruct.Mode = GPIO_MODE_AF_PP;
  GPIO_InitStruct.Pull = GPIO_NOPULL;
  GPIO_InitStruct.Speed = GPIO_SPEED_FREQ_VERY_HIGH;
  GPIO_InitStruct.Alternate = GPIO_AF12_FMC;
  HAL_GPIO_Init(GPIOB, &GPIO_InitStruct);

  /* EXTI interrupt init*/
  HAL_NVIC_SetPriority(EXTI0_IRQn, 6, 0);
  HAL_NVIC_EnableIRQ(EXTI0_IRQn);

}

void HAL_TIM_PeriodElapsedCallback(TIM_HandleTypeDef *htim)
{
  if (htim->Instance == TIM6)
  {
    HAL_IncTick();
  }
}

void Error_Handler(void)
{
  __disable_irq();
  while (1)
  {
  }
}
